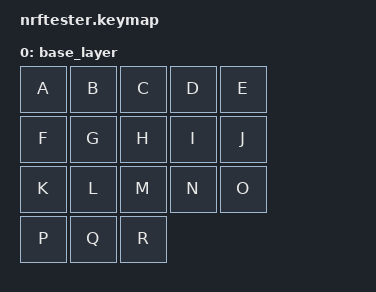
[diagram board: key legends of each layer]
/*
 * Copyright (c) 2021 The ZMK Contributors
 *
 * SPDX-License-Identifier: MIT
 */

#include <behaviors.dtsi>
#include <dt-bindings/zmk/keys.h>

/ {

	keymap {
		compatible = "zmk,keymap";

		// This is a sample keymap intended to be replaced with your own
		base_layer {
			bindings = <
				&kp A     &kp B     &kp C     &kp D     &kp E
				&kp F     &kp G     &kp H     &kp I     &kp J
				&kp K     &kp L     &kp M     &kp N     &kp O
				&kp P     &kp Q     &kp R
			>;
		};

	};
};
